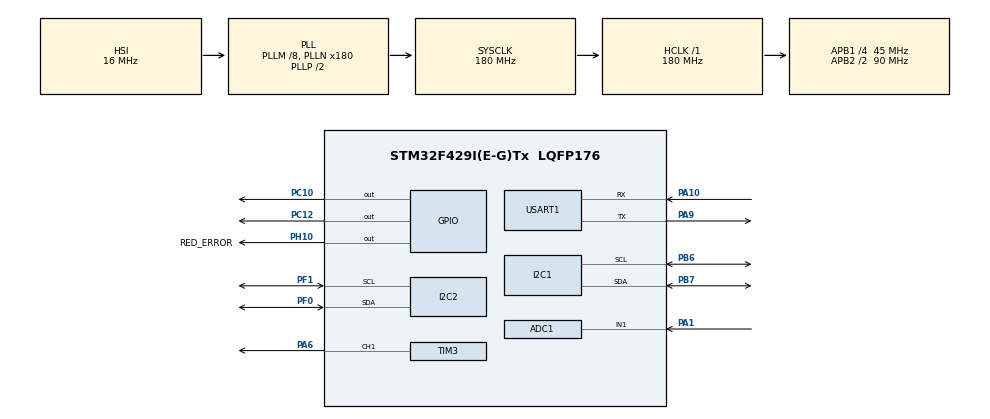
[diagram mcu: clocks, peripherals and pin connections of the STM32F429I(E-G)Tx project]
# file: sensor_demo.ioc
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ADC1.Channel-1\#ChannelRegularConversion=ADC_CHANNEL_1
ADC1.ContinuousConvMode=ENABLE
ADC1.NbrOfConversionFlag=1
ADC1.Rank-1\#ChannelRegularConversion=1
ADC1.SamplingTime-1\#ChannelRegularConversion=ADC_SAMPLETIME_144CYCLES
ADC1.master=1
Dma.Request0=USART1_RX
Dma.USART1_RX.0.Direction=DMA_PERIPH_TO_MEMORY
Dma.USART1_RX.0.FIFOMode=DMA_FIFOMODE_DISABLE
Dma.USART1_RX.0.Instance=DMA2_Stream2
Dma.USART1_RX.0.MemDataAlignment=DMA_MDATAALIGN_BYTE
Dma.USART1_RX.0.MemInc=DMA_MINC_ENABLE
Dma.USART1_RX.0.Mode=DMA_NORMAL
Dma.USART1_RX.0.PeriphDataAlignment=DMA_PDATAALIGN_BYTE
Dma.USART1_RX.0.PeriphInc=DMA_PINC_DISABLE
Dma.USART1_RX.0.Priority=DMA_PRIORITY_LOW
FREERTOS.Tasks01=defaultTask,0,256,StartDefaultTask,Default,NULL,Dynamic,NULL,NULL
FREERTOS.configMINIMAL_STACK_SIZE=256
Mcu.Family=STM32F4
Mcu.Name=STM32F429I(E-G)Tx
Mcu.Package=LQFP176
NVIC.DMA2_Stream2_IRQn=true\:5\:0\:false\:false\:true\:true\:false\:true\:true
NVIC.PriorityGroup=NVIC_PRIORITYGROUP_4
NVIC.TIM6_DAC_IRQn=true\:15\:0\:false\:false\:true\:false\:false\:true\:true
NVIC.TimeBase=TIM6_DAC_IRQn
NVIC.TimeBaseIP=TIM6
NVIC.USART1_IRQn=true\:5\:0\:false\:false\:true\:true\:true\:true\:true
PA1.Signal=ADCx_IN1
PA10.Mode=Asynchronous
PA10.Signal=USART1_RX
PA13.Mode=Serial_Wire
PA13.Signal=SYS_JTMS-SWDIO
PA14.Mode=Serial_Wire
PA14.Signal=SYS_JTCK-SWCLK
PA6.Signal=S_TIM3_CH1
PA9.Mode=Asynchronous
PA9.Signal=USART1_TX
PB6.Mode=I2C
PB6.Signal=I2C1_SCL
PB7.Mode=I2C
PB7.Signal=I2C1_SDA
PC10.GPIO_ModeDefaultOutputPP=GPIO_MODE_OUTPUT_OD
PC10.GPIO_PuPd=GPIO_NOPULL
PC10.PinState=GPIO_PIN_SET
PC10.Signal=GPIO_Output
PC12.Signal=GPIO_Output
PF0.Mode=I2C
PF0.Signal=I2C2_SDA
PF1.Mode=I2C
PF1.Signal=I2C2_SCL
PH10.GPIO_Label=RED_ERROR
PH10.PinState=GPIO_PIN_SET
PH10.Signal=GPIO_Output
ProjectManager.HeapSize=0x200
ProjectManager.StackSize=0x400
ProjectManager.TargetToolchain=CMake
RCC.48MHZClocksFreq_Value=90000000
RCC.AHBFreq_Value=180000000
RCC.APB1CLKDivider=RCC_HCLK_DIV4
RCC.APB1Freq_Value=45000000
RCC.APB1TimFreq_Value=90000000
RCC.APB2CLKDivider=RCC_HCLK_DIV2
RCC.APB2Freq_Value=90000000
RCC.APB2TimFreq_Value=180000000
RCC.CortexFreq_Value=180000000
RCC.HCLKFreq_Value=180000000
RCC.HSE_VALUE=25000000
RCC.HSI_VALUE=16000000
RCC.LSE_VALUE=32768
RCC.PLLM=8
RCC.PLLN=180
RCC.SYSCLKFreq_VALUE=180000000
RCC.SYSCLKSource=RCC_SYSCLKSOURCE_PLLCLK
RCC.VCOOutputFreq_Value=360000000
SH.ADCx_IN1.0=ADC1_IN1,IN1
SH.S_TIM3_CH1.0=TIM3_CH1,PWM Generation1 CH1
TIM3.AutoReloadPreload=TIM_AUTORELOAD_PRELOAD_ENABLE
TIM3.Channel-PWM\ Generation1\ CH1=TIM_CHANNEL_1
TIM3.Period=999
TIM3.Prescaler=18000-1
USART1.VirtualMode=VM_ASYNC
VP_FREERTOS_VS_CMSIS_V1.Mode=CMSIS_V1
VP_SYS_VS_tim6.Mode=TIM6
board=custom

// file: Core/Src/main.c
/* USER CODE BEGIN Header */
/**
  ******************************************************************************
  * @file           : main.c
  * @brief          : Main program body
  ******************************************************************************
  * @attention
  *
  * Copyright (c) 2026 STMicroelectronics.
  * All rights reserved.
  *
  * This software is licensed under terms that can be found in the LICENSE file
  * in the root directory of this software component.
  * If no LICENSE file comes with this software, it is provided AS-IS.
  *
  ******************************************************************************
  */
/* USER CODE END Header */
#include "main.h"
#include "cmsis_os.h"
#include "adc.h"
#include "dma.h"
#include "i2c.h"
#include "tim.h"
#include "usart.h"
#include "gpio.h"

void SystemClock_Config(void);
void MX_FREERTOS_Init(void);

int main(void)
{

  /* MCU Configuration--------------------------------------------------------*/

  /* Reset of all peripherals, Initializes the Flash interface and the Systick. */
  HAL_Init();

  /* Configure the system clock */
  SystemClock_Config();

  /* Initialize all configured peripherals */
  MX_GPIO_Init();
  MX_DMA_Init();
  MX_ADC1_Init();
  MX_I2C2_Init();
  MX_TIM3_Init();
  MX_I2C1_Init();
  MX_USART1_UART_Init();
  /* USER CODE BEGIN 2 */
  // uint8_t addr_buf = 0; // addr_buf[0]存储设备数量，后续存储设备地址
  // if (HAL_I2C_IsDeviceReady(&hi2c1, (0x38 << 1), 1, 10) == HAL_OK) {
  //     addr_buf = 0x38; // 存储设备地址
  // }
  // else {
  //   while (1);
  // }
  /* USER CODE END 2 */

  /* Call init function for freertos objects (in cmsis_os2.c) */
  MX_FREERTOS_Init();

  /* Start scheduler */
  osKernelStart();

  /* We should never get here as control is now taken by the scheduler */

  /* Infinite loop */
  /* USER CODE BEGIN WHILE */
  while (1)
  {
    Error_Handler();
    /* USER CODE END WHILE */

  }
}

void SystemClock_Config(void)
{
  RCC_OscInitTypeDef RCC_OscInitStruct = {0};
  RCC_ClkInitTypeDef RCC_ClkInitStruct = {0};

  /** Configure the main internal regulator output voltage
  */
  __HAL_RCC_PWR_CLK_ENABLE();
  __HAL_PWR_VOLTAGESCALING_CONFIG(PWR_REGULATOR_VOLTAGE_SCALE1);

  /** Initializes the RCC Oscillators according to the specified parameters
  * in the RCC_OscInitTypeDef structure.
  */
  RCC_OscInitStruct.OscillatorType = RCC_OSCILLATORTYPE_HSI;
  RCC_OscInitStruct.HSIState = RCC_HSI_ON;
  RCC_OscInitStruct.HSICalibrationValue = RCC_HSICALIBRATION_DEFAULT;
  RCC_OscInitStruct.PLL.PLLState = RCC_PLL_ON;
  RCC_OscInitStruct.PLL.PLLSource = RCC_PLLSOURCE_HSI;
  RCC_OscInitStruct.PLL.PLLM = 8;
  RCC_OscInitStruct.PLL.PLLN = 180;
  RCC_OscInitStruct.PLL.PLLP = RCC_PLLP_DIV2;
  RCC_OscInitStruct.PLL.PLLQ = 4;
  if (HAL_RCC_OscConfig(&RCC_OscInitStruct) != HAL_OK)
  {
    Error_Handler();
  }

  /** Activate the Over-Drive mode
  */
  if (HAL_PWREx_EnableOverDrive() != HAL_OK)
  {
    Error_Handler();
  }

  /** Initializes the CPU, AHB and APB buses clocks
  */
  RCC_ClkInitStruct.ClockType = RCC_CLOCKTYPE_HCLK|RCC_CLOCKTYPE_SYSCLK
                              |RCC_CLOCKTYPE_PCLK1|RCC_CLOCKTYPE_PCLK2;
  RCC_ClkInitStruct.SYSCLKSource = RCC_SYSCLKSOURCE_PLLCLK;
  RCC_ClkInitStruct.AHBCLKDivider = RCC_SYSCLK_DIV1;
  RCC_ClkInitStruct.APB1CLKDivider = RCC_HCLK_DIV4;
  RCC_ClkInitStruct.APB2CLKDivider = RCC_HCLK_DIV2;

  if (HAL_RCC_ClockConfig(&RCC_ClkInitStruct, FLASH_LATENCY_5) != HAL_OK)
  {
    Error_Handler();
  }
}

void HAL_TIM_PeriodElapsedCallback(TIM_HandleTypeDef *htim)
{
  if (htim->Instance == TIM6)
  {
    HAL_IncTick();
  }
}

void Error_Handler(void)
{
  /* USER CODE BEGIN Error_Handler_Debug */
  /* User can add his own implementation to report the HAL error return state */
  __disable_irq();
  while (1)
  {
    // 点亮错误指示灯
    HAL_GPIO_WritePin(RED_ERROR_GPIO_Port, RED_ERROR_Pin, GPIO_PIN_RESET);
  }
  /* USER CODE END Error_Handler_Debug */
}

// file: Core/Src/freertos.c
/* USER CODE BEGIN Header */
/**
  ******************************************************************************
  * File Name          : freertos.c
  * Description        : Code for freertos applications
  ******************************************************************************
  * @attention
  *
  * Copyright (c) 2026 STMicroelectronics.
  * All rights reserved.
  *
  * This software is licensed under terms that can be found in the LICENSE file
  * in the root directory of this software component.
  * If no LICENSE file comes with this software, it is provided AS-IS.
  *
  ******************************************************************************
  */
/* USER CODE END Header */

#include "FreeRTOS.h"
#include "task.h"
#include "main.h"
#include "cmsis_os.h"

/* USER CODE BEGIN Includes */
#include "app_config.h"
/* USER CODE END Includes */

osThreadId defaultTaskHandle;
osThreadId getSensorsDataTaskHandle;
osThreadId sendDataTaskHandle;
osThreadId receiveCommandTaskHandle;
osThreadId controlCommandTaskHandle;

/* USER CODE BEGIN FunctionPrototypes */
extern void GetSensorsDataTask(void const * argument);
extern void SendDataTask(void const * argument);
extern void ReceiveCommandTask(void const * argument);
extern void ControlCommandTask(void const * argument);
extern int QueueInit(void);
/* USER CODE END FunctionPrototypes */

void StartDefaultTask(void const * argument);

void MX_FREERTOS_Init(void); /* (MISRA C 2004 rule 8.1) */

/* GetIdleTaskMemory prototype (linked to static allocation support) */
void vApplicationGetIdleTaskMemory( StaticTask_t **ppxIdleTaskTCBBuffer, StackType_t **ppxIdleTaskStackBuffer, uint32_t *pulIdleTaskStackSize );

/* USER CODE BEGIN GET_IDLE_TASK_MEMORY */
static StaticTask_t xIdleTaskTCBBuffer;
static StackType_t xIdleStack[configMINIMAL_STACK_SIZE];

void vApplicationGetIdleTaskMemory( StaticTask_t **ppxIdleTaskTCBBuffer, StackType_t **ppxIdleTaskStackBuffer, uint32_t *pulIdleTaskStackSize )
{
  *ppxIdleTaskTCBBuffer = &xIdleTaskTCBBuffer;
  *ppxIdleTaskStackBuffer = &xIdleStack[0];
  *pulIdleTaskStackSize = configMINIMAL_STACK_SIZE;
  /* place for user code */
}
/* USER CODE END GET_IDLE_TASK_MEMORY */

void MX_FREERTOS_Init(void) {

  /* Create the thread(s) */
  /* definition and creation of defaultTask */
  osThreadDef(defaultTask, StartDefaultTask, osPriorityBelowNormal, 0, 256);
  defaultTaskHandle = osThreadCreate(osThread(defaultTask), NULL);

  /* USER CODE BEGIN RTOS_THREADS */
  QueueInit();

  osThreadDef(getSensorsDataTask, GetSensorsDataTask, TASK_PRIO_SENSOR, 0, STACK_SENSOR);
  getSensorsDataTaskHandle = osThreadCreate(osThread(getSensorsDataTask), NULL);

  osThreadDef(sendDataTask, SendDataTask, TASK_PRIO_SEND, 0, STACK_SEND);
  sendDataTaskHandle = osThreadCreate(osThread(sendDataTask), NULL);

  osThreadDef(receiveCommandTask, ReceiveCommandTask, TASK_PRIO_RECV, 0, STACK_RECV);
  receiveCommandTaskHandle = osThreadCreate(osThread(receiveCommandTask), NULL);

  osThreadDef(controlCommandTask, ControlCommandTask, TASK_PRIO_CONTROL, 0, STACK_CONTROL);
  controlCommandTaskHandle = osThreadCreate(osThread(controlCommandTask), NULL);
  /* USER CODE END RTOS_THREADS */

}

void StartDefaultTask(void const * argument)
{
  for(;;)
  {
    osDelay(1);
  }
}
